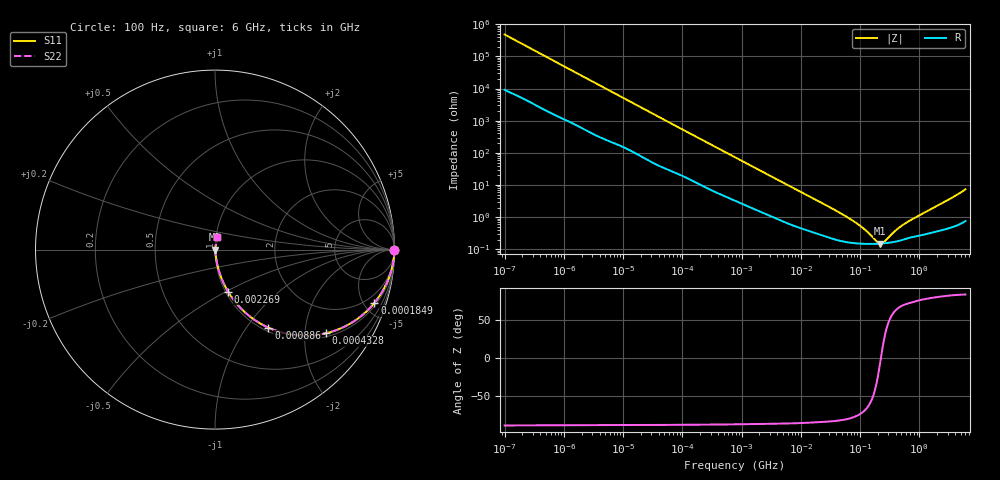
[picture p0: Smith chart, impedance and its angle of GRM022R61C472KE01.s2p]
!Murata Part Number: GRM022R61C472KE01
!These Parameters are Measured in Series Mode Connection
!Data Generated on Mar 30, 2021
!  o--ll--o
!Port1  Port2
!  o------o
!Operation Temp=25[degC], DC Bias Voltage=0[V]
!Freq. Start=100[Hz] Stop=6[GHz] 401[Steps]
# Hz S RI R 50
!Freq.(Hz) S11(Real) S11(Imag) S21(Real) S21(Imag) S12(Real) S12(Imag) S22(Real) S22(Imag)
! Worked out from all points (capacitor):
!   401 points, 100 Hz to 6 GHz, reference 50 ohm
!   read as one part in series: C = 3.31 nF near 109 Hz
!   lowest |Z| = 152 mohm at 218.4 MHz (marker M1)
!   series resonance near 224.7 MHz, so ESL is about 150 pH
!   S11 on the Smith chart (normalised r, x): 100 Hz: open; 184.9 kHz: 1.22, -5.88; 432.8 kHz: 1.10, -2.56; 886 kHz: 1.06, -1.27; 2.269 MHz: 1.03, -0.51; 6 GHz: 1.02, +0.15
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100  1 -0.000208  4e-06 0.000208  4e-06 0.000208  1 -0.000208
2008  0.9999 -0.00402  0.000111 0.00402  0.000111 0.00402  0.9999 -0.00402
40335  0.9919 -0.0758  0.00812 0.0758  0.00812 0.0758  0.9919 -0.0758
90302  0.9668 -0.1622  0.0332 0.1622  0.0332 0.1622  0.9668 -0.1622
184852  0.8877 -0.2976  0.1123 0.2976  0.1123 0.2976  0.8877 -0.2976
276587  0.7888 -0.3895  0.2112 0.3895  0.2112 0.3895  0.7888 -0.3895
432798  0.617 -0.4663  0.383 0.4663  0.383 0.4663  0.617 -0.4663
774597  0.3521 -0.4559  0.6479 0.4559  0.6479 0.4559  0.3521 -0.4559
885955  0.2977 -0.4351  0.7023 0.4351  0.7023 0.4351  0.2977 -0.4351
1386327  0.1574 -0.3406  0.8426 0.3406  0.8426 0.3406  0.1574 -0.3406
2268635  0.0726 -0.234  0.9274 0.234  0.9274 0.234  0.0726 -0.234
5311619  0.0192 -0.1095  0.9808 0.1095  0.9808 0.1095  0.0192 -0.1095
1.555665e7  0.00499 -0.0394  0.995 0.0394  0.995 0.0394  0.00499 -0.0394
7.797396e7  0.00161 -0.00731  0.9984 0.00731  0.9984 0.00731  0.00161 -0.00731
1.220122e8  0.00149 -0.00375  0.9985 0.00375  0.9985 0.00375  0.00149 -0.00375
1.909225e8  0.00149 -0.000943  0.9985 0.000943  0.9985 0.000943  0.00149 -0.000943
2.183701e8  0.00151 -0.000164  0.9985 0.000164  0.9985 0.000164  0.00151 -0.000164
2.497637e8  0.00153 0.000609  0.9985 -0.000609  0.9985 -0.000609  0.00153 0.000609
3.124326e8  0.00161 0.00192  0.9984 -0.00192  0.9984 -0.00192  0.00161 0.00192
4.274388e8  0.0018 0.00389  0.9982 -0.00389  0.9982 -0.00389  0.0018 0.00389
6.11557e8  0.00219 0.00648  0.9978 -0.00648  0.9978 -0.00648  0.00219 0.00648
6e9  0.0128 0.0718  0.9872 -0.0718  0.9872 -0.0718  0.0128 0.0718
